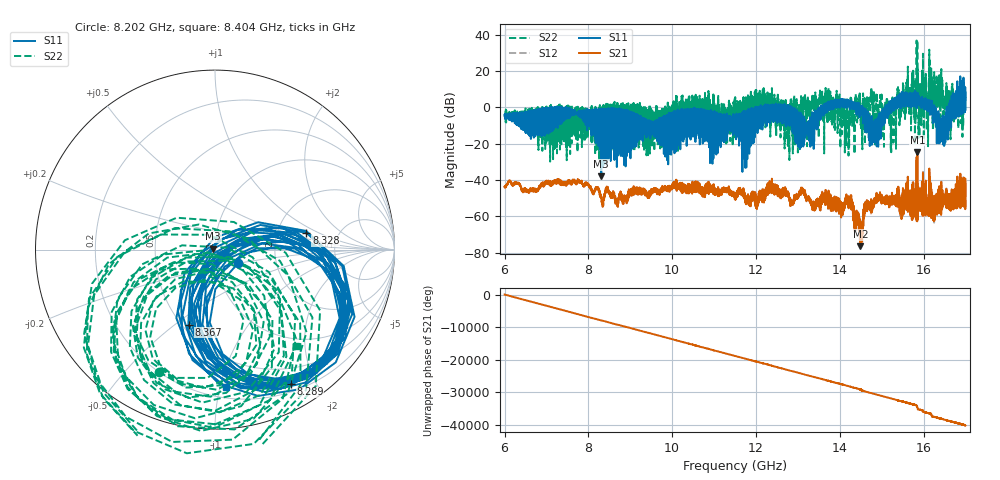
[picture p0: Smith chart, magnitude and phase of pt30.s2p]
#  HZ  S  RI  R  50.00
! Rohde & Schwarz Vector Network Analyzer
! Rohde-Schwarz,ZNA67-2Port,1332450062101215,3.01
! Created: UTC 10/27/2026, 1:56:00 PM
! freq[Hz]  re:S11  im:S11  re:S21  im:S21  re:S12  im:S12  re:S22  im:S22
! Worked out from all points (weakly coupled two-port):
!   11001 points, 6 GHz to 17 GHz, reference 50 ohm
!   highest |S21| = -24.60 dB at 15.85 GHz (marker M1); lowest = -76.5 dB at 14.49 GHz (marker M2)
!   lowest |S11| = -38.1 dB at 8.307 GHz (marker M3), VSWR 1.03, Z = 48.9 + j0.594 ohm
!   |S11| at or under -10 dB: 13.18603 GHz to 13.20396 GHz (17.93 MHz wide, 0.136 % of centre); 14.79472 GHz to 14.82504 GHz (30.32 MHz wide, 0.205 % of centre); 16.41512 GHz to 16.43331 GHz (18.2 MHz wide, 0.111 % of centre) (the widest 3 of 543)
!   |S22| runs from -29.9 to 36.9 dB; largest |S21 - S12| = 0.0035
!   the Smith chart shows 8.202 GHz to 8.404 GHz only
!   S11 on the Smith chart (normalised r, x): 8.202 GHz: 1.28, -0.19; 8.289 GHz: 0.29, -1.67; 8.328 GHz: 2.94, +0.75; 8.367 GHz: 0.54, -0.56; 8.404 GHz: 0.28, -1.04
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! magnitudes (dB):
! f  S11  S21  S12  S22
! 6 GHz  -4.7  -43.9  -43.8  -4.5
! 7.834 GHz  -2.9  -41.7  -41.7  -11.4
! 8.202 GHz  -16.5  -44.9  -44.9  -2.5
! 8.289 GHz  -1.3  -48.8  -48.7  -7.2
! 8.307 GHz  -38.1  -49.7  -49.7  -1.8
! 8.328 GHz  -5.7  -52.0  -52.0  -4.3
! 8.367 GHz  -7.1  -49.9  -49.9  1.2
! 8.404 GHz  -2.3  -46.4  -46.5  -3.1
! 9.667 GHz  -7.2  -45.8  -45.8  -6.1
! 11.5 GHz  -6.2  -49.6  -49.5  1.6
! 12.02 GHz  -0.1  -53.3  -53.1  4.3
! 12.43 GHz  -7.1  -46.6  -46.6  1.3
! 12.72 GHz  -6.7  -48.0  -48.2  0.7
! 13.33 GHz  -10.3  -54.5  -54.2  2.1
! 14.21 GHz  3.1  -54.6  -54.7  -14.7
! 14.49 GHz  -1.3  -76.5  -76.3  -2.6
! 14.62 GHz  -4.7  -53.8  -53.2  -0.1
! 14.82 GHz  -11.7  -54.8  -54.6  5.0
! 15.17 GHz  0.3  -51.4  -51.6  -5.9
! 15.85 GHz  7.8  -24.6  -24.7  36.9
! 16.45 GHz  -6.8  -54.9  -55.2  4.4
! 17 GHz  10.7  -39.6  -39.8  5.9
